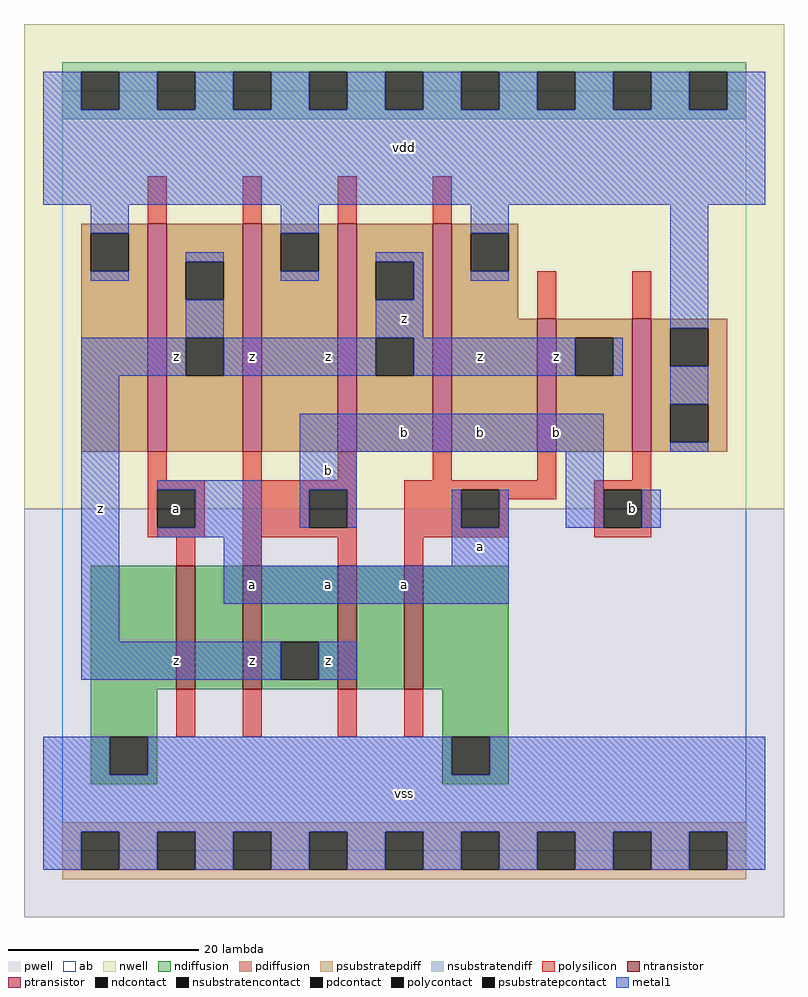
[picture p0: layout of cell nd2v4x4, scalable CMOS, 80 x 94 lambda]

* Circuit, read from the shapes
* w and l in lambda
.subckt nd2v4x4 a b vdd vss z
M1 n1 a vss vss nfet w=13 l=2
M2 z b n1 vss nfet w=13 l=2
M3 n2 b z vss nfet w=13 l=2
M4 vss a n2 vss nfet w=13 l=2
M5 z a vdd vdd pfet w=24 l=2 m=2
M6 vdd b z vdd pfet w=24 l=2 m=2
M7 z a vdd vdd pfet w=14 l=2
M8 vdd b z vdd pfet w=14 l=2
.ends

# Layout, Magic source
magic
tech scmos
<< ab >>
rect 0 0 72 80
<< pwell >>
rect -4 -7 76 36
<< nwell >>
rect -4 36 76 87
<< polysilicon >>
rect 9 66 11 71
rect 19 66 21 71
rect 29 66 31 71
rect 39 66 41 71
rect 50 56 52 61
rect 60 56 62 61
rect 9 39 11 42
rect 19 39 21 42
rect 29 39 31 42
rect 39 39 41 42
rect 50 39 52 42
rect 60 39 62 42
rect 9 38 15 39
rect 9 34 10 38
rect 14 34 15 38
rect 9 33 15 34
rect 19 38 31 39
rect 19 34 26 38
rect 30 34 31 38
rect 19 33 31 34
rect 12 30 14 33
rect 19 30 21 33
rect 29 30 31 33
rect 36 38 52 39
rect 36 34 42 38
rect 46 37 52 38
rect 56 38 62 39
rect 46 34 47 37
rect 36 33 47 34
rect 56 34 57 38
rect 61 34 62 38
rect 56 33 62 34
rect 36 30 38 33
rect 12 12 14 17
rect 19 12 21 17
rect 29 12 31 17
rect 36 12 38 17
<< ndiffusion >>
rect 3 17 12 30
rect 14 17 19 30
rect 21 22 29 30
rect 21 18 23 22
rect 27 18 29 22
rect 21 17 29 18
rect 31 17 36 30
rect 38 17 47 30
rect 3 12 10 17
rect 40 12 47 17
rect 3 8 5 12
rect 9 8 10 12
rect 3 7 10 8
rect 40 8 41 12
rect 45 8 47 12
rect 40 7 47 8
<< pdiffusion >>
rect 2 65 9 66
rect 2 61 3 65
rect 7 61 9 65
rect 2 42 9 61
rect 11 62 19 66
rect 11 58 13 62
rect 17 58 19 62
rect 11 54 19 58
rect 11 50 13 54
rect 17 50 19 54
rect 11 42 19 50
rect 21 65 29 66
rect 21 61 23 65
rect 27 61 29 65
rect 21 42 29 61
rect 31 62 39 66
rect 31 58 33 62
rect 37 58 39 62
rect 31 54 39 58
rect 31 50 33 54
rect 37 50 39 54
rect 31 42 39 50
rect 41 65 48 66
rect 41 61 43 65
rect 47 61 48 65
rect 41 56 48 61
rect 41 42 50 56
rect 52 54 60 56
rect 52 50 54 54
rect 58 50 60 54
rect 52 42 60 50
rect 62 55 70 56
rect 62 51 64 55
rect 68 51 70 55
rect 62 47 70 51
rect 62 43 64 47
rect 68 43 70 47
rect 62 42 70 43
<< metal1 >>
rect -2 78 2 82
rect 6 78 10 82
rect 14 78 18 82
rect 22 78 26 82
rect 30 78 34 82
rect 38 78 42 82
rect 46 78 50 82
rect 54 78 58 82
rect 62 78 66 82
rect 70 78 74 82
rect -2 68 74 78
rect 3 65 7 68
rect 23 65 27 68
rect 3 60 7 61
rect 13 62 17 63
rect 43 65 47 68
rect 23 60 27 61
rect 33 62 38 63
rect 13 54 17 58
rect 37 58 38 62
rect 43 60 47 61
rect 33 54 38 58
rect 64 55 68 68
rect 2 50 13 54
rect 17 50 33 54
rect 37 50 54 54
rect 58 50 59 54
rect 2 22 6 50
rect 64 47 68 51
rect 25 42 57 46
rect 64 42 68 43
rect 10 38 21 39
rect 14 34 21 38
rect 25 38 31 42
rect 25 34 26 38
rect 30 34 31 38
rect 41 34 42 38
rect 46 34 47 38
rect 53 34 57 42
rect 61 34 63 38
rect 10 33 21 34
rect 17 30 21 33
rect 41 30 47 34
rect 17 26 47 30
rect 2 18 23 22
rect 27 18 31 22
rect -2 8 5 12
rect 9 8 41 12
rect 45 8 74 12
rect -2 2 74 8
rect -2 -2 2 2
rect 6 -2 10 2
rect 14 -2 18 2
rect 22 -2 26 2
rect 30 -2 34 2
rect 38 -2 42 2
rect 46 -2 50 2
rect 54 -2 58 2
rect 62 -2 66 2
rect 70 -2 74 2
<< ntransistor >>
rect 12 17 14 30
rect 19 17 21 30
rect 29 17 31 30
rect 36 17 38 30
<< ptransistor >>
rect 9 42 11 66
rect 19 42 21 66
rect 29 42 31 66
rect 39 42 41 66
rect 50 42 52 56
rect 60 42 62 56
<< polycontact >>
rect 10 34 14 38
rect 26 34 30 38
rect 42 34 46 38
rect 57 34 61 38
<< ndcontact >>
rect 23 18 27 22
rect 5 8 9 12
rect 41 8 45 12
<< pdcontact >>
rect 3 61 7 65
rect 13 58 17 62
rect 13 50 17 54
rect 23 61 27 65
rect 33 58 37 62
rect 33 50 37 54
rect 43 61 47 65
rect 54 50 58 54
rect 64 51 68 55
rect 64 43 68 47
<< psubstratepcontact >>
rect 2 -2 6 2
rect 10 -2 14 2
rect 18 -2 22 2
rect 26 -2 30 2
rect 34 -2 38 2
rect 42 -2 46 2
rect 50 -2 54 2
rect 58 -2 62 2
rect 66 -2 70 2
<< nsubstratencontact >>
rect 2 78 6 82
rect 10 78 14 82
rect 18 78 22 82
rect 26 78 30 82
rect 34 78 38 82
rect 42 78 46 82
rect 50 78 54 82
rect 58 78 62 82
rect 66 78 70 82
<< psubstratepdiff >>
rect 0 2 72 3
rect 0 -2 2 2
rect 6 -2 10 2
rect 14 -2 18 2
rect 22 -2 26 2
rect 30 -2 34 2
rect 38 -2 42 2
rect 46 -2 50 2
rect 54 -2 58 2
rect 62 -2 66 2
rect 70 -2 72 2
rect 0 -3 72 -2
<< nsubstratendiff >>
rect 0 82 72 83
rect 0 78 2 82
rect 6 78 10 82
rect 14 78 18 82
rect 22 78 26 82
rect 30 78 34 82
rect 38 78 42 82
rect 46 78 50 82
rect 54 78 58 82
rect 62 78 66 82
rect 70 78 72 82
rect 0 77 72 78
<< labels >>
rlabel metal1 4 36 4 36 6 z
rlabel metal1 12 20 12 20 6 z
rlabel metal1 20 20 20 20 6 z
rlabel metal1 20 28 20 28 6 a
rlabel polycontact 12 36 12 36 6 a
rlabel metal1 20 52 20 52 6 z
rlabel metal1 12 52 12 52 6 z
rlabel metal1 36 6 36 6 6 vss
rlabel metal1 28 20 28 20 6 z
rlabel metal1 28 28 28 28 6 a
rlabel metal1 36 28 36 28 6 a
rlabel metal1 28 40 28 40 6 b
rlabel metal1 36 44 36 44 6 b
rlabel metal1 28 52 28 52 6 z
rlabel metal1 36 56 36 56 6 z
rlabel metal1 36 74 36 74 6 vdd
rlabel metal1 44 32 44 32 6 a
rlabel metal1 44 44 44 44 6 b
rlabel metal1 52 44 52 44 6 b
rlabel metal1 52 52 52 52 6 z
rlabel metal1 44 52 44 52 6 z
rlabel polycontact 60 36 60 36 6 b
<< end >>
